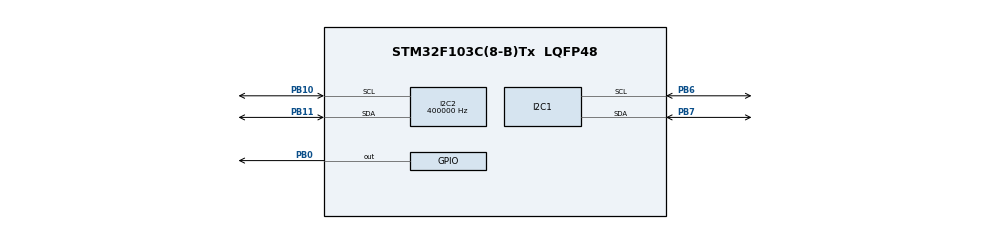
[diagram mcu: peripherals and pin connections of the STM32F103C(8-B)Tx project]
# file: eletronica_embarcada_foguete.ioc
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I2C1.I2C_Mode=I2C_Fast
I2C2.ClockSpeed=400000
I2C2.I2C_Mode=I2C_Fast
Mcu.Family=STM32F1
Mcu.Name=STM32F103C(8-B)Tx
Mcu.Package=LQFP48
NVIC.PriorityGroup=NVIC_PRIORITYGROUP_4
PA13.Mode=Serial_Wire
PA13.Signal=SYS_JTMS-SWDIO
PA14.Mode=Serial_Wire
PA14.Signal=SYS_JTCK-SWCLK
PB0.Signal=GPIO_Output
PB10.Mode=I2C
PB10.Signal=I2C2_SCL
PB11.Mode=I2C
PB11.Signal=I2C2_SDA
PB6.Mode=I2C
PB6.Signal=I2C1_SCL
PB7.Mode=I2C
PB7.Signal=I2C1_SDA
PD0-OSC_IN.Mode=HSE-External-Oscillator
PD0-OSC_IN.Signal=RCC_OSC_IN
PD1-OSC_OUT.Mode=HSE-External-Oscillator
PD1-OSC_OUT.Signal=RCC_OSC_OUT
ProjectManager.HeapSize=0x200
ProjectManager.StackSize=0x400
ProjectManager.TargetToolchain=STM32CubeIDE
RCC.APB1Freq_Value=8000000
RCC.APB2Freq_Value=8000000
VP_RTC_VS_RTC_Activate.Mode=RTC_Enabled
board=custom

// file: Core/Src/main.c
/* USER CODE BEGIN Header */
/**
  ******************************************************************************
  * @file           : main.c
  * @brief          : Main program body
  ******************************************************************************
  * @attention
  *
  * Copyright (c) 2022 STMicroelectronics.
  * All rights reserved.
  *
  * This software is licensed under terms that can be found in the LICENSE file
  * in the root directory of this software component.
  * If no LICENSE file comes with this software, it is provided AS-IS.
  *
  ******************************************************************************
  */
/* USER CODE END Header */
#include "main.h"

 I2C_HandleTypeDef hi2c1;
I2C_HandleTypeDef hi2c2;

RTC_HandleTypeDef hrtc;

void SystemClock_Config(void);
static void MX_GPIO_Init(void);
static void MX_I2C1_Init(void);
static void MX_I2C2_Init(void);
static void MX_RTC_Init(void);

/* USER CODE BEGIN 0 */

#define MPU6050_ADDR 0xD0
#define SMPLRT_DIV_REG 0x19
#define GYRO_CONFIG_REG 0x1B
#define ACCEL_CONFIG_REG 0x1C
#define ACCEL_XOUT_H_REG 0x3B
#define TEMP_OUT_H_REG 0x41
#define GYRO_XOUT_H_REG 0x43
#define PWR_MGMT_1_REG 0x6B
#define WHO_AM_I_REG 0x75

void MPU6050_Init (void)
{
	uint8_t check;
	uint8_t data;

	// WHO_AM_I ~ 6050

	HAL_I2C_Mem_Read (&hi2c1, MPU6050_ADDR, WHO_AM_I_REG, 1, &check, 1, 1000);

	if (check == 104) // check presence
	{
		// power management register 0x6B we should write all 0s to wake the sensor up
		data = 0;
		HAL_I2C_Mem_Write(&hi2c1, MPU6050_ADDR, PWR_MGMT_1_REG, 1, &data, 1, 1000);

		// set DATA RATE of 1KHz by writing SMPLRT_DIV register
		data  =  0x07;
		HAL_I2C_Mem_Write(&hi2c1, MPU6050_ADDR, SMPLRT_DIV_REG, 1, &data, 1, 1000);

		// set accelerometer e gyroscopic configuration in ACCEL_CONFIG and GYRO_CONFIG
		data = 0x00;
		HAL_I2C_Mem_Write(&hi2c1, MPU6050_ADDR, ACCEL_CONFIG_REG, 1, &data, 1, 1000);

		data = 0x00;
		HAL_I2C_Mem_Write(&hi2c1, MPU6050_ADDR, GYRO_CONFIG_REG, 1, &data, 1, 1000);
	}
}

void MPU6050_Read_Accel (void)
{
	uint8_t rec_data[6];

	// Lê 6 BYTES de dados a partir do registrador ACCEL_XOUT_H [ACELERÔMETRO]

	HAL_I2C_Mem_Read  (&hi2c1, MPU6050_ADDR, ACCEL_XOUT_H_REG, 1, rec_data, 6, 1000);

	Accel_X_RAW = (int16_t)(rec_data[0] << 8 | rec_data [1]);
	Accel_Y_RAW = (int16_t)(rec_data[2] << 8 | rec_data [3]);
	Accel_Z_RAW = (int16_t)(rec_data[4] << 8 | rec_data [5]);
	/* converter os valores RAW em aceleração em 'g'
	   dividir de acordo com o valor Full scale definido em FS_SEL
	   FS_SEL = 0. Então, deve ser dividido por 16384 */

	Ax = Accel_X_RAW/16384.0;   // obtém o float g
	Ay = Accel_Y_RAW/16384.0;
	Az = Accel_Z_RAW/16384.0;
}

void MPU6050_Read_Gyro (void)
{
	uint8_t rec_data[6];

	// Lê 6 BYTES de dados a partir do registrador GYRO_XOUT_H [GIROSCÓPIO]
	HAL_I2C_Mem_Read  (&hi2c1, MPU6050_ADDR, GYRO_XOUT_H_REG, 1, rec_data, 6, 1000);

	Gyro_X_RAW = (int16_t)(rec_data[0] << 8 | rec_data [1]);
	Gyro_Y_RAW = (int16_t)(rec_data[2] << 8 | rec_data [3]);
	Gyro_Z_RAW = (int16_t)(rec_data[4] << 8 | rec_data [5]);

	/* converter os valores RAW em dps (°/s)
	   dividir de acordo com o valor Full scale definido em FS_SEL
	   FS_SEL = 0. Então, deve ser dividido por 131.0  */

	Gx = Gyro_X_RAW/131.0;
	Gy = Gyro_Y_RAW/131.0;
	Gz = Gyro_Z_RAW/131.0;

}

/* USER CODE END 0 */

int main(void)
{
  /* USER CODE BEGIN 1 */
	HAL_StatusTypeDef ret;
	HAL_StatusTypeDef ret1;
	uint8_t end = 0x64;
	uint32_t saida ;
	uint32_t saida1;
	uint32_t saida2;
	uint32_t saida3;
	uint32_t saida4;
	uint8_t saida5;

  /* USER CODE END 1 */

  /* MCU Configuration--------------------------------------------------------*/

  /* Reset of all peripherals, Initializes the Flash interface and the Systick. */
  HAL_Init();

  /* Configure the system clock */
  SystemClock_Config();

  /* Initialize all configured peripherals */
  MX_GPIO_Init();
  MX_I2C1_Init();
  MX_I2C2_Init();
  MX_RTC_Init();

  /* Infinite loop */
  /* USER CODE BEGIN WHILE */
  while (1)
  {
	  HAL_GPIO_TogglePin(GPIOB, GPIO_PIN_0);
	  HAL_Delay(500);

	  MPU6050_Read_Accel();
	  MPU6050_Read_Gyro();
	    //wake
	    uint8_t data = 0;
	 	HAL_I2C_Mem_Write(&hi2c2, end, 0x00, 1, (uint8_t*)&data, sizeof(data), 1000);
	 	//HAL_Delay(10);
		//leitura de dados serial number
		uint32_t rec_data = 0x00;
		HAL_I2C_Mem_Read(&hi2c2, end, 0x01, 1, (uint8_t*)&rec_data, sizeof(rec_data), 100);

		saida = HAL_I2C_GetState(&hi2c2);''
		saida1 = HAL_I2C_GetError(&hi2c2);
		saida2 = ret;
		saida3 = ret1;
		saida4 = rec_data;
		saida5 = end;
	  // precisa incluir o DEBUG pela serial
    /* USER CODE END WHILE */

  }
}

void SystemClock_Config(void)
{
  RCC_OscInitTypeDef RCC_OscInitStruct = {0};
  RCC_ClkInitTypeDef RCC_ClkInitStruct = {0};
  RCC_PeriphCLKInitTypeDef PeriphClkInit = {0};

  /** Initializes the RCC Oscillators according to the specified parameters
  * in the RCC_OscInitTypeDef structure.
  */
  RCC_OscInitStruct.OscillatorType = RCC_OSCILLATORTYPE_HSI|RCC_OSCILLATORTYPE_LSI;
  RCC_OscInitStruct.HSIState = RCC_HSI_ON;
  RCC_OscInitStruct.HSICalibrationValue = RCC_HSICALIBRATION_DEFAULT;
  RCC_OscInitStruct.LSIState = RCC_LSI_ON;
  RCC_OscInitStruct.PLL.PLLState = RCC_PLL_NONE;
  if (HAL_RCC_OscConfig(&RCC_OscInitStruct) != HAL_OK)
  {
    Error_Handler();
  }

  /** Initializes the CPU, AHB and APB buses clocks
  */
  RCC_ClkInitStruct.ClockType = RCC_CLOCKTYPE_HCLK|RCC_CLOCKTYPE_SYSCLK
                              |RCC_CLOCKTYPE_PCLK1|RCC_CLOCKTYPE_PCLK2;
  RCC_ClkInitStruct.SYSCLKSource = RCC_SYSCLKSOURCE_HSI;
  RCC_ClkInitStruct.AHBCLKDivider = RCC_SYSCLK_DIV1;
  RCC_ClkInitStruct.APB1CLKDivider = RCC_HCLK_DIV1;
  RCC_ClkInitStruct.APB2CLKDivider = RCC_HCLK_DIV1;

  if (HAL_RCC_ClockConfig(&RCC_ClkInitStruct, FLASH_LATENCY_0) != HAL_OK)
  {
    Error_Handler();
  }
  PeriphClkInit.PeriphClockSelection = RCC_PERIPHCLK_RTC;
  PeriphClkInit.RTCClockSelection = RCC_RTCCLKSOURCE_LSI;
  if (HAL_RCCEx_PeriphCLKConfig(&PeriphClkInit) != HAL_OK)
  {
    Error_Handler();
  }
}

static void MX_I2C1_Init(void)
{

  hi2c1.Instance = I2C1;
  hi2c1.Init.ClockSpeed = 400000;
  hi2c1.Init.DutyCycle = I2C_DUTYCYCLE_2;
  hi2c1.Init.OwnAddress1 = 0;
  hi2c1.Init.AddressingMode = I2C_ADDRESSINGMODE_7BIT;
  hi2c1.Init.DualAddressMode = I2C_DUALADDRESS_DISABLE;
  hi2c1.Init.OwnAddress2 = 0;
  hi2c1.Init.GeneralCallMode = I2C_GENERALCALL_DISABLE;
  hi2c1.Init.NoStretchMode = I2C_NOSTRETCH_DISABLE;
  if (HAL_I2C_Init(&hi2c1) != HAL_OK)
  {
    Error_Handler();
  }

}

static void MX_I2C2_Init(void)
{

  hi2c2.Instance = I2C2;
  hi2c2.Init.ClockSpeed = 400000;
  hi2c2.Init.DutyCycle = I2C_DUTYCYCLE_2;
  hi2c2.Init.OwnAddress1 = 0;
  hi2c2.Init.AddressingMode = I2C_ADDRESSINGMODE_7BIT;
  hi2c2.Init.DualAddressMode = I2C_DUALADDRESS_DISABLE;
  hi2c2.Init.OwnAddress2 = 0;
  hi2c2.Init.GeneralCallMode = I2C_GENERALCALL_DISABLE;
  hi2c2.Init.NoStretchMode = I2C_NOSTRETCH_DISABLE;
  if (HAL_I2C_Init(&hi2c2) != HAL_OK)
  {
    Error_Handler();
  }

}

static void MX_RTC_Init(void)
{

  /** Initialize RTC Only
  */
  hrtc.Instance = RTC;
  hrtc.Init.AsynchPrediv = RTC_AUTO_1_SECOND;
  hrtc.Init.OutPut = RTC_OUTPUTSOURCE_ALARM;
  if (HAL_RTC_Init(&hrtc) != HAL_OK)
  {
    Error_Handler();
  }

}

static void MX_GPIO_Init(void)
{
  GPIO_InitTypeDef GPIO_InitStruct = {0};

  /* GPIO Ports Clock Enable */
  __HAL_RCC_GPIOD_CLK_ENABLE();
  __HAL_RCC_GPIOB_CLK_ENABLE();
  __HAL_RCC_GPIOA_CLK_ENABLE();

  /*Configure GPIO pin Output Level */
  HAL_GPIO_WritePin(GPIOB, GPIO_PIN_0, GPIO_PIN_RESET);

  /*Configure GPIO pin : PB0 */
  GPIO_InitStruct.Pin = GPIO_PIN_0;
  GPIO_InitStruct.Mode = GPIO_MODE_OUTPUT_PP;
  GPIO_InitStruct.Pull = GPIO_NOPULL;
  GPIO_InitStruct.Speed = GPIO_SPEED_FREQ_LOW;
  HAL_GPIO_Init(GPIOB, &GPIO_InitStruct);

}

void Error_Handler(void)
{
  __disable_irq();
  while (1)
  {
  }
}
